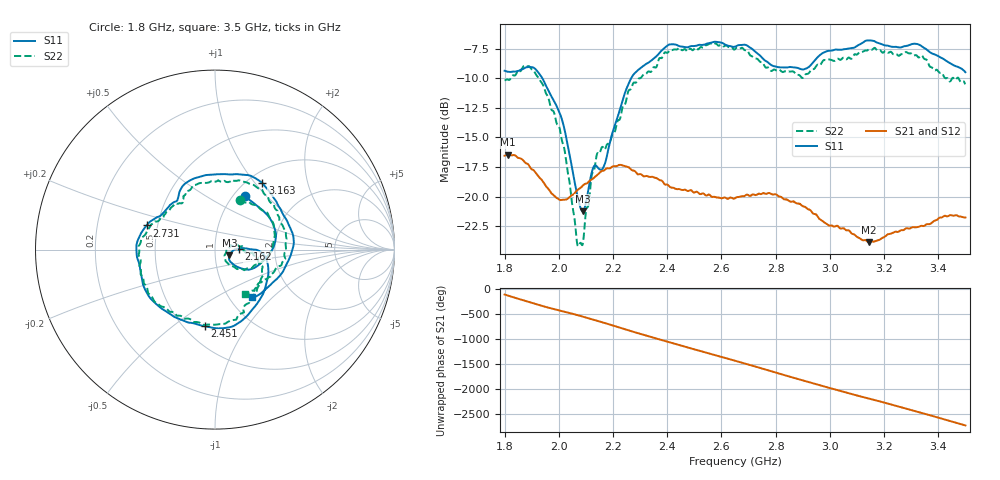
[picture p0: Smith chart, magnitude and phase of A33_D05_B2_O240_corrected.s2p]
! Created with skrf 1.9.0 (http://scikit-rf.org).
# Hz S RI R 50.0
!freq ReS11 ImS11 ReS21 ImS21 ReS12 ImS12 ReS22 ImS22
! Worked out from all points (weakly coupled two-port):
!   1601 points, 1.8 GHz to 3.5 GHz, reference 50 ohm
!   highest |S21| = -16.45 dB at 1.812 GHz (marker M1); lowest = -23.8 dB at 3.143 GHz (marker M2)
!   lowest |S11| = -21.2 dB at 2.088 GHz (marker M3), VSWR 1.19, Z = 58.6 - j3.87 ohm
!   |S11| at or under -10 dB: 1.939 GHz to 2.267 GHz (327.5 MHz wide, 15.6 % of centre)
!   |S22| runs from -24.2 to -7.0 dB; largest |S21 - S12| = 0.0027
!   S11 on the Smith chart (normalised r, x): 1.8 GHz: 1.13, +0.76; 2.162 GHz: 1.30, +0.01; 2.451 GHz: 0.63, -0.66; 2.731 GHz: 0.43, +0.14; 3.163 GHz: 1.17, +1.09; 3.5 GHz: 1.26, -0.76
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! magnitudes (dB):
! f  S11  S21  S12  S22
! 1.8 GHz  -9.4  -16.5  -16.5  -10.2
! 1.812 GHz  -9.4  -16.5  -16.5  -10.1
! 1.887 GHz  -9.0  -17.3  -17.3  -9.0
! 1.942 GHz  -10.1  -18.7  -18.7  -10.6
! 2.008 GHz  -13.2  -20.3  -20.3  -14.9
! 2.067 GHz  -19.7  -19.5  -19.5  -23.8
! 2.084 GHz  -21.1  -19.2  -19.1  -24.0
! 2.088 GHz  -21.2  -19.1  -19.1  -24.0
! 2.127 GHz  -17.5  -18.5  -18.4  -17.9
! 2.162 GHz  -17.6  -17.8  -17.7  -15.8
! 2.263 GHz  -10.2  -17.6  -17.6  -11.0
! 2.367 GHz  -8.0  -18.5  -18.5  -8.5
! 2.451 GHz  -7.3  -19.4  -19.4  -7.6
! 2.65 GHz  -7.3  -20.1  -20.1  -7.5
! 2.731 GHz  -7.9  -19.8  -19.9  -8.3
! 2.808 GHz  -9.1  -19.9  -19.9  -9.3
! 2.934 GHz  -8.8  -21.3  -21.3  -9.2
! 3.143 GHz  -6.8  -23.8  -23.7  -7.6
! 3.163 GHz  -6.8  -23.8  -23.7  -7.4
! 3.217 GHz  -7.3  -23.2  -23.1  -7.8
! 3.326 GHz  -7.1  -22.6  -22.5  -8.2
! 3.5 GHz  -9.5  -21.8  -21.7  -10.5
